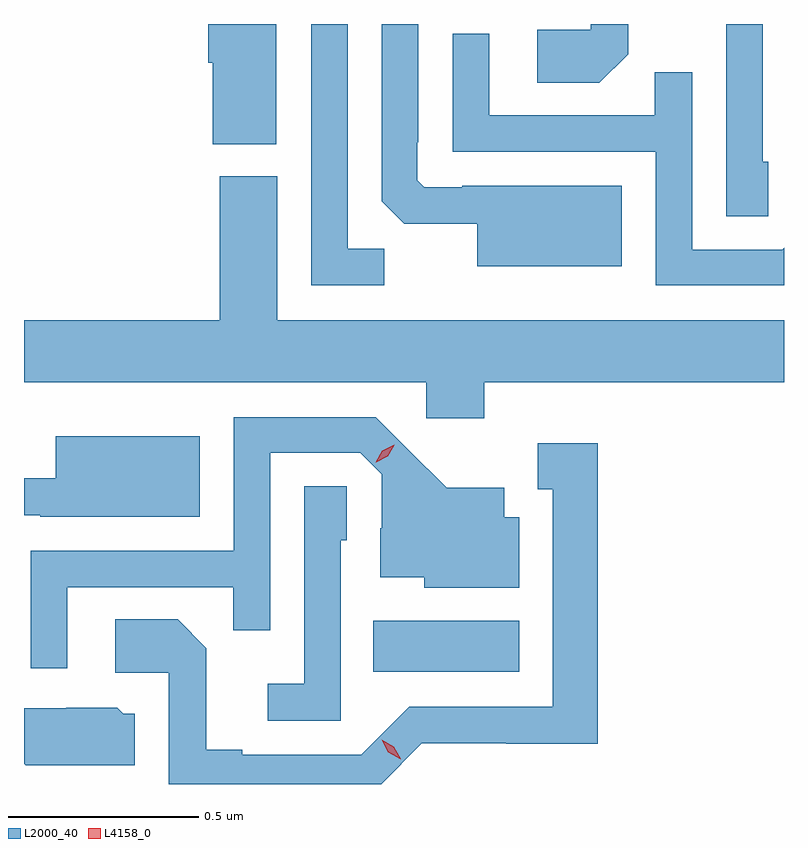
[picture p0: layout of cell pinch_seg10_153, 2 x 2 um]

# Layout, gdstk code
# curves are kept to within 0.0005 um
import gdstk
lib = gdstk.Library(unit=1e-6, precision=1e-09)
def R(c, l, rs):  # rectangles x0, y0, x1, y1
    for r in rs: c.add(gdstk.rectangle(r[:2], r[2:], *l))
def P(c, l, *ps):  # polygons
    for p in ps: c.add(gdstk.Polygon(p, *l))
L2000_40 = (2000, 40)
L4158_0 = (4158, 0)

pinch_seg10_153 = lib.new_cell('pinch_seg10_153')
R(pinch_seg10_153, L2000_40, [(726.778,1283.57,727.162,1283.704)])
P(pinch_seg10_153, L2000_40, [(726.523,1285.275),(726.344,1285.275),(726.344,1285.173),(726.356,1285.173),(726.356,1284.959),(726.523,1284.959)],
  [(726.807,1284.683),(726.711,1284.683),(726.711,1285.275),(726.615,1285.275),(726.615,1284.588),(726.807,1284.588)],
  [(727.818,1284.912),(727.803,1284.912),(727.803,1285.275),(727.707,1285.275),(727.707,1284.769),(727.818,1284.769)],
  [(727.432,1284.85),(727.012,1284.85),(727.012,1284.846),(726.912,1284.846),(726.894,1284.864),(726.894,1284.964),(726.897,1284.964),(726.897,1285.275),(726.801,1285.275),(726.801,1284.808),(726.86,1284.749),(727.052,1284.749),(727.052,1284.638),(727.432,1284.638)],
  [(727.449,1285.196),(727.449,1285.275),(727.35,1285.275),(727.35,1285.26),(727.209,1285.26),(727.209,1285.12),(727.373,1285.12)],
  [(727.859,1284.686),(727.854,1284.681),(727.617,1284.681),(727.617,1285.148),(727.519,1285.148),(727.519,1285.035),(727.083,1285.035),(727.083,1285.249),(726.987,1285.249),(726.987,1284.939),(727.521,1284.939),(727.521,1284.588),(727.859,1284.588)],
  [(727.07,1284.332),(727.859,1284.332),(727.859,1284.496),(726.526,1284.496),(726.526,1284.874),(726.374,1284.874),(726.374,1284.496),(725.859,1284.496),(725.859,1284.332),(726.918,1284.332),(726.918,1284.237),(727.07,1284.237)],
  [(725.973,1283.793),(726.409,1283.793),(726.409,1283.68),(726.507,1283.68),(726.507,1284.147),(726.744,1284.147),(726.801,1284.09),(726.801,1283.948),(726.797,1283.948),(726.797,1283.819),(726.912,1283.819),(726.912,1283.792),(727.162,1283.792),(727.162,1283.977),(727.123,1283.977),(727.123,1284.055),(726.971,1284.055),(726.784,1284.24),(726.411,1284.24),(726.411,1283.889),(725.877,1283.889),(725.877,1283.58),(725.973,1283.58)],
  [(726.322,1284.19),(725.942,1284.19),(725.942,1284.079),(725.859,1284.079),(725.859,1283.982),(725.902,1283.982),(725.902,1283.978),(726.322,1283.978)],
  [(726.906,1283.382),(727.128,1283.382),(727.128,1283.381),(727.369,1283.381),(727.369,1284.172),(727.211,1284.172),(727.211,1284.051),(727.25,1284.051),(727.25,1283.478),(726.873,1283.478),(726.747,1283.352),(726.433,1283.352),(726.433,1283.365),(726.339,1283.365),(726.339,1283.632),(726.263,1283.708),(726.099,1283.708),(726.099,1283.568),(726.24,1283.568),(726.24,1283.275),(726.799,1283.275)],
  [(726.693,1283.916),(726.708,1283.916),(726.708,1284.059),(726.597,1284.059),(726.597,1283.539),(726.501,1283.539),(726.501,1283.442),(726.693,1283.442)],
  [(726.151,1283.46),(726.12,1283.46),(726.104,1283.476),(725.97,1283.476),(725.97,1283.475),(725.859,1283.475),(725.859,1283.328),(725.863,1283.324),(726.151,1283.324)])
P(pinch_seg10_153, L4158_0, [(726.85,1283.34),(726.818,1283.359),(726.8,1283.392),(726.8,1283.392),(726.8,1283.392),(726.832,1283.373),(726.85,1283.341),(726.85,1283.34)],
  [(726.785,1284.122),(726.785,1284.122),(726.802,1284.152),(726.833,1284.168),(726.833,1284.168),(726.833,1284.167),(726.816,1284.138),(726.786,1284.122)])

lib.write_gds('pinch_seg10_153.gds')
